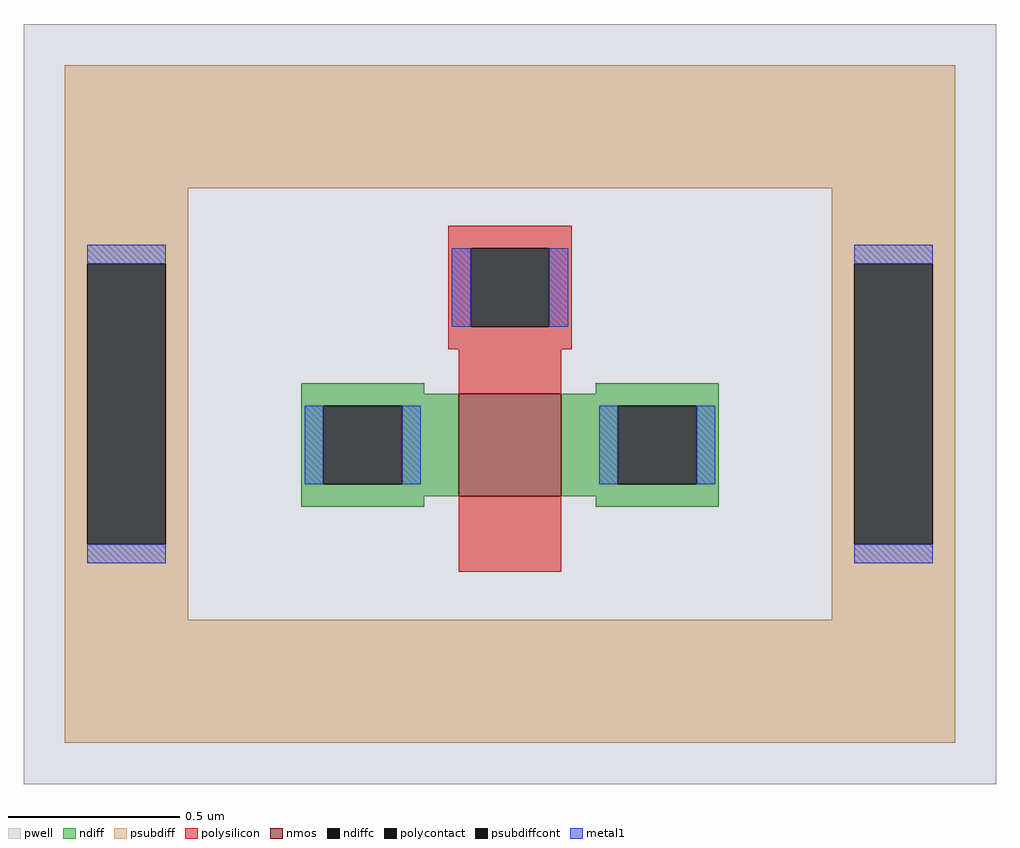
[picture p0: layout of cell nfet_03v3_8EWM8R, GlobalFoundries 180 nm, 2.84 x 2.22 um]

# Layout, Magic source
magic
tech gf180mcuD
magscale 1 10
<< pwell >>
rect -284 -222 284 222
<< nmos >>
rect -30 -54 30 6
<< ndiff >>
rect -122 6 -50 12
rect 50 6 122 12
rect -122 -1 -30 6
rect -122 -47 -109 -1
rect -63 -47 -30 -1
rect -122 -54 -30 -47
rect 30 -1 122 6
rect 30 -47 63 -1
rect 109 -47 122 -1
rect 30 -54 122 -47
rect -122 -60 -50 -54
rect 50 -60 122 -54
<< ndiffc >>
rect -109 -47 -63 -1
rect 63 -47 109 -1
<< psubdiff >>
rect -260 126 260 198
rect -260 82 -188 126
rect -260 -82 -247 82
rect -201 -82 -188 82
rect 188 82 260 126
rect -260 -126 -188 -82
rect 188 -82 201 82
rect 247 -82 260 82
rect 188 -126 260 -82
rect -260 -198 260 -126
<< psubdiffcont >>
rect -247 -82 -201 82
rect 201 -82 247 82
<< polysilicon >>
rect -36 91 36 104
rect -36 45 -23 91
rect 23 45 36 91
rect -36 32 36 45
rect -30 6 30 32
rect -30 -98 30 -54
<< polycontact >>
rect -23 45 23 91
<< metal1 >>
rect -247 82 -201 93
rect -34 45 -23 91
rect 23 45 34 91
rect 201 82 247 93
rect -120 -47 -109 -1
rect -63 -47 -52 -1
rect 52 -47 63 -1
rect 109 -47 120 -1
rect -247 -93 -201 -82
rect 201 -93 247 -82
<< properties >>
string FIXED_BBOX -224 -162 224 162
string gencell nfet_03v3
string library gf180mcu
string parameters w 0.3 l 0.3 m 1 nf 1 diffcov 100 polycov 100 guard 1 glc 1 grc 1 gtc 0 gbc 0 tbcov 100 rlcov 100 topc 1 botc 0 poverlap 0 doverlap 1 lmin 0.28 wmin 0.22 class mosfet full_metal 0 compatible {nfet_03v3 nfet_05v0 nfet_06v0 nfet_06v0_nvt}
<< end >>
